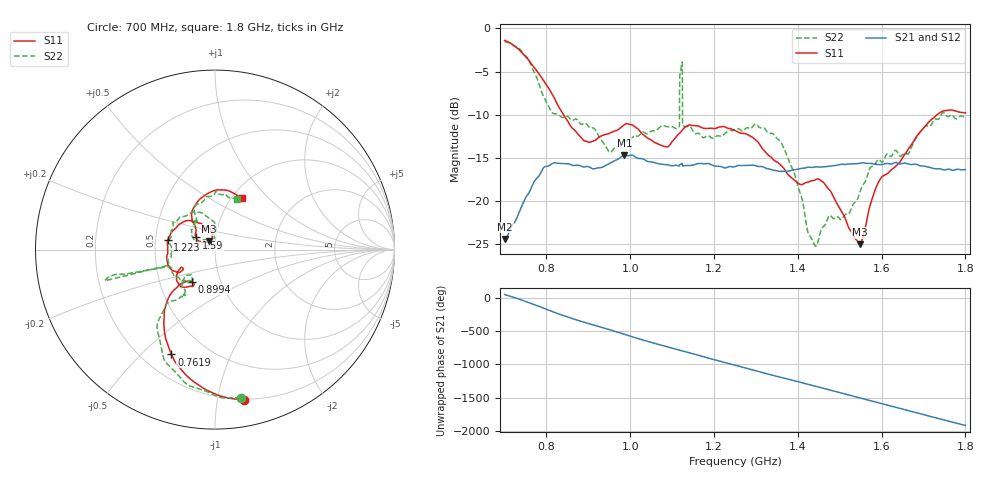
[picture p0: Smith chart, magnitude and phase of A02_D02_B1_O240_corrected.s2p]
! Created with skrf 1.9.0 (http://scikit-rf.org).
# Hz S RI R 50.0
!freq ReS11 ImS11 ReS21 ImS21 ReS12 ImS12 ReS22 ImS22
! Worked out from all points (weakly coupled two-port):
!   1601 points, 700 MHz to 1.8 GHz, reference 50 ohm
!   highest |S21| = -14.68 dB at 986 MHz (marker M1); lowest = -24.4 dB at 701.4 MHz (marker M2)
!   lowest |S11| = -25.0 dB at 1.548 GHz (marker M3), VSWR 1.12, Z = 46.6 + j4.23 ohm
!   |S11| at or under -10 dB: 840.4 MHz to 1.732 GHz (892.1 MHz wide, 69.3 % of centre)
!   |S22| runs from -25.2 to -1.5 dB; largest |S21 - S12| = 0.0035
!   S11 on the Smith chart (normalised r, x): 700 MHz: 0.20, -1.19; 761.9 MHz: 0.32, -0.62; 899.4 MHz: 0.73, -0.27; 1.223 GHz: 0.58, +0.07; 1.59 GHz: 0.80, +0.11; 1.8 GHz: 1.12, +0.72
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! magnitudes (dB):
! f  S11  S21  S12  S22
! 700 MHz  -1.4  -24.4  -24.2  -1.5
! 701.4 MHz  -1.4  -24.4  -24.0  -1.6
! 761.9 MHz  -4.0  -18.7  -18.6  -4.1
! 812.8 MHz  -7.6  -15.7  -15.7  -9.7
! 883.6 MHz  -12.7  -16.0  -15.9  -11.1
! 899.4 MHz  -13.2  -16.0  -16.0  -11.3
! 950.9 MHz  -12.1  -15.6  -15.6  -14.4
! 986 MHz  -11.2  -14.7  -14.8  -13.0
! 1.067 GHz  -13.4  -15.7  -15.6  -11.6
! 1.112 GHz  -12.4  -15.9  -16.0  -11.6
! 1.119 GHz  -12.1  -15.8  -15.7  -5.3
! 1.123 GHz  -11.8  -15.7  -15.6  -4.0
! 1.13 GHz  -11.5  -15.9  -16.0  -11.4
! 1.223 GHz  -11.4  -16.1  -16.1  -12.3
! 1.25 GHz  -11.8  -16.0  -15.9  -11.7
! 1.359 GHz  -15.8  -16.6  -16.5  -13.1
! 1.434 GHz  -17.7  -16.1  -16.1  -24.5
! 1.548 GHz  -25.0  -15.6  -15.6  -19.1
! 1.59 GHz  -18.1  -15.8  -15.8  -15.3
! 1.617 GHz  -16.7  -15.7  -15.6  -14.7
! 1.735 GHz  -9.9  -16.3  -16.3  -10.5
! 1.8 GHz  -9.8  -16.4  -16.4  -10.3
